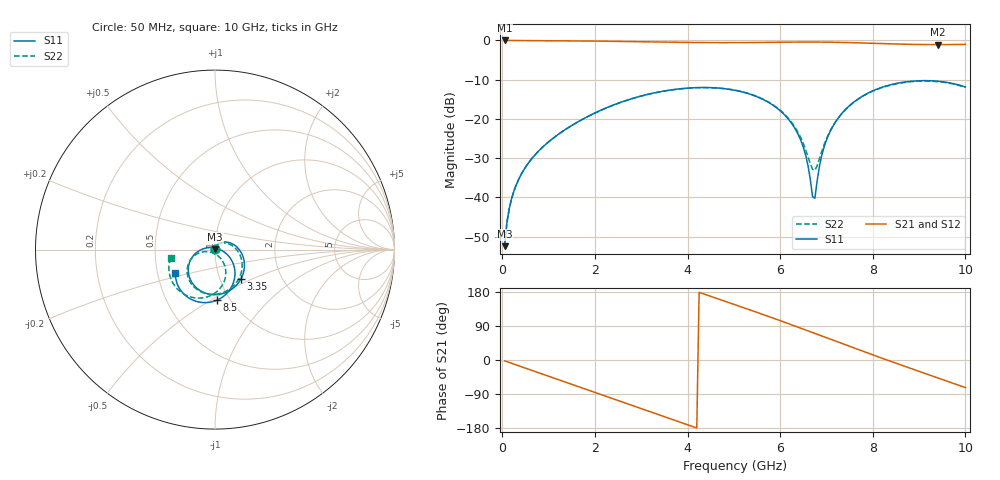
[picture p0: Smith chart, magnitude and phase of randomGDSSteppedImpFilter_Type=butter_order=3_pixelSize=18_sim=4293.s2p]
! freq	dB(S11)	phase(S11)	dB(S12)	phase(S12)
!  dB(S21)	phase(S21)	dB(S22)	phase(S22)
!S-par simulation data
#  GHz  S  DB  R 50
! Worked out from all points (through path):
!   200 points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, 50 MHz to 10 GHz, reference 50 ohm
!   highest |S21| = 0.00 dB at 50 MHz (marker M1); lowest = -1.1 dB at 9.4 GHz (marker M2)
!   group delay of S21, straight-line fit = 120 ps
!   lowest |S11| = -52.4 dB at 50 MHz (marker M3), VSWR 1.00, Z = 50 + j0.238 ohm
!   |S11| at or under -10 dB: start of sweep to end of sweep
!   |S22| runs from -52.4 to -10.4 dB; largest |S21 - S12| = 0
!   S11 on the Smith chart (normalised r, x): 50 MHz: 1.00, +0.00; 3.35 GHz: 1.25, -0.43; 8.5 GHz: 0.87, -0.53; 10 GHz: 0.62, -0.17
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0.05  -52.45 86.3  -0.00 -2.2  -0.00 -2.2  -52.35 85.8
0.1  -46.43 85.1  -0.01 -4.4  -0.01 -4.4  -46.36 84.1
0.2  -40.40 81.5  -0.01 -8.7  -0.01 -8.7  -40.38 79.9
0.45  -33.27 71.7  -0.03 -19.4  -0.03 -19.4  -33.28 69.0
1.75  -19.98 19.2  -0.13 -75.1  -0.13 -75.1  -20.01 11.9
2.5  -16.01 -12.7  -0.24 -107.2  -0.24 -107.2  -16.04 -20.5
3.35  -13.20 -48.9  -0.39 -143.4  -0.39 -143.4  -13.23 -56.5
3.4  -13.09 -51.0  -0.40 -145.6  -0.40 -145.6  -13.11 -58.6
4.2  -12.02 -84.8  -0.52 -179.3  -0.52 -179.3  -12.05 -91.4
5.05  -12.76 -121.1  -0.56 144.9  -0.56 144.9  -12.75 -125.7
5.75  -15.80 -152.1  -0.49 114.9  -0.49 114.9  -15.72 -153.1
6.25  -21.19 -176.5  -0.42 92.7  -0.42 92.7  -20.92 -168.3
6.55  -29.23 161.6  -0.41 79.2  -0.41 79.2  -27.84 -162.7
6.7  -39.82 109.5  -0.41 72.4  -0.41 72.4  -32.86 -127.5
6.75  -40.23 51.0  -0.41 70.1  -0.41 70.1  -33.09 -105.4
6.95  -27.12 -10.6  -0.43 61.0  -0.43 61.0  -26.53 -60.5
7.2  -20.70 -27.7  -0.47 49.5  -0.47 49.5  -20.67 -57.6
7.7  -14.77 -52.6  -0.61 26.8  -0.61 26.8  -14.85 -73.1
8.35  -11.40 -81.7  -0.85 -1.9  -0.85 -1.9  -11.50 -99.1
8.5  -10.98 -88.1  -0.91 -8.4  -0.91 -8.4  -11.08 -105.3
9.4  -10.40 -125.4  -1.07 -46.9  -1.07 -46.9  -10.50 -142.7
10  -11.87 -149.6  -1.00 -72.8  -1.00 -72.8  -11.96 -169.0
